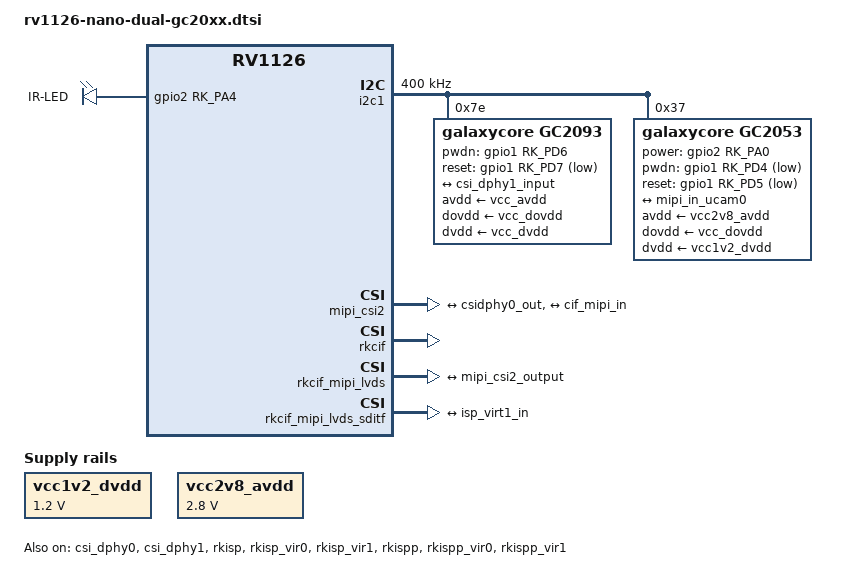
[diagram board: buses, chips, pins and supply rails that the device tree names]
// SPDX-License-Identifier: (GPL-2.0+ OR MIT)
/*
 * Guangzhou Easy EAI Technology Co., Ltd.
 *
 */

/ {
	gpioleds {
		pinctrl-names = "default";
		pinctrl-0 = <&ir_led_io>;
		compatible = "gpio-leds";

		ir_led {
			label = "IR-LED";
			gpios = <&gpio2 RK_PA4 GPIO_ACTIVE_HIGH>;
			default-state = "on";
		};
	};

	vcc1v2_dvdd: vcc1v2-dvdd {
		compatible = "regulator-fixed";
		regulator-name = "vcc1v2_dvdd";
		regulator-min-microvolt = <1200000>;
		regulator-max-microvolt = <1200000>;
	};

	vcc2v8_avdd: vcc2v8-avdd {
		compatible = "regulator-fixed";
		regulator-name = "vcc2v8_avdd";
		regulator-min-microvolt = <2800000>;
		regulator-max-microvolt = <2800000>;
	};
};

&csi_dphy0 {
	status = "okay";

	ports {
		#address-cells = <1>;
		#size-cells = <0>;
		port@0 {
			reg = <0>;
			#address-cells = <1>;
			#size-cells = <0>;

			mipi_in_ucam0: endpoint@1 {
				reg = <1>;
				remote-endpoint = <&ucam_out0>;
				data-lanes = <1 2>;
			};
		};
		port@1 {
			reg = <1>;
			#address-cells = <1>;
			#size-cells = <0>;

			csidphy0_out: endpoint@0 {
				reg = <0>;
				remote-endpoint = <&mipi_csi2_input>;
				data-lanes = <1 2>;
			};
		};
	};
};

&csi_dphy1 {
	status = "okay";

	ports {
		#address-cells = <1>;
		#size-cells = <0>;

		port@0 {
			reg = <0>;
			#address-cells = <1>;
			#size-cells = <0>;

			csi_dphy1_input: endpoint@1 {
				reg = <1>;
				remote-endpoint = <&ucam_out1>;
				data-lanes = <1 2>;
			};
		};
		port@1 {
			reg = <1>;
			#address-cells = <1>;
			#size-cells = <0>;

			csi_dphy1_output: endpoint@0 {
				reg = <0>;
				remote-endpoint = <&isp_in>;
				data-lanes = <1 2>;
			};
		};
	};
};

&i2c1 {
	status = "okay";
	clock-frequency = <400000>;

	gc2093: gc2093@7e {
		compatible = "galaxycore,gc2093";
		reg = <0x7e>;
		clocks = <&cru CLK_MIPICSI_OUT>;
		clock-names = "xvclk";
		power-domains = <&power RV1126_PD_VI>;
		pinctrl-names = "default";
		pinctrl-0 = <&mipicsi_clk1 &csi1_pwdn &csi1_rst>;
		avdd-supply = <&vcc_avdd>;
		dovdd-supply = <&vcc_dovdd>;
		dvdd-supply = <&vcc_dvdd>;
		pwdn-gpios = <&gpio1 RK_PD6 GPIO_ACTIVE_HIGH>;
		reset-gpios = <&gpio1 RK_PD7 GPIO_ACTIVE_LOW>;
		rockchip,camera-module-index = <1>;
		rockchip,camera-module-facing = "front";
		rockchip,camera-module-name = "YT-RV1109-2-V1";
		rockchip,camera-module-lens-name = "40IR-2MP-F20";
		//ir-cut = <&cam_ircut0>;
		port {
			ucam_out1: endpoint {
				remote-endpoint = <&csi_dphy1_input>;
				data-lanes = <1 2>;
			};
		};
	};

	gc2053: gc2053@37 { //IR
		compatible = "galaxycore,gc2053";
		reg = <0x37>;

		clocks = <&cru CLK_MIPICSI_OUT>;
		clock-names = "xvclk";

		power-domains = <&power RV1126_PD_VI>;
		pinctrl-names = "default";
		pinctrl-0 = <&mipicsi_clk0 &csi0_rst &csi0_pwdn &csi0_pwr>;

		power-gpios = <&gpio2 RK_PA0 GPIO_ACTIVE_HIGH>;
		pwdn-gpios = <&gpio1 RK_PD4 GPIO_ACTIVE_LOW>;
		reset-gpios = <&gpio1 RK_PD5 GPIO_ACTIVE_LOW>;

		avdd-supply = <&vcc2v8_avdd>;
		dovdd-supply = <&vcc_dovdd>;
		dvdd-supply = <&vcc1v2_dvdd>;

		rockchip,camera-module-index = <0>;
		rockchip,camera-module-facing = "front";
		rockchip,camera-module-name = "YT-RV1109-2-V1";
		rockchip,camera-module-lens-name = "40IR-2MP-F20";
		port {
			ucam_out0: endpoint {
				remote-endpoint = <&mipi_in_ucam0>;
				data-lanes = <1 2>;
			};
		};
	};
};

/* isp cma buffer don't fiddle with it, dual camera(1920 * 1080) need 92M buffer */
&isp_reserved {
	size = <0x5c00000>;
};

&mipi_csi2 {
	status = "okay";
	ports {
		#address-cells = <1>;
		#size-cells = <0>;

		port@0 {
			reg = <0>;
			#address-cells = <1>;
			#size-cells = <0>;

			mipi_csi2_input: endpoint@1 {
				reg = <1>;
				remote-endpoint = <&csidphy0_out>;
				data-lanes = <1 2>;
			};
		};

		port@1 {
			reg = <1>;
			#address-cells = <1>;
			#size-cells = <0>;

			mipi_csi2_output: endpoint@0 {
				reg = <0>;
				remote-endpoint = <&cif_mipi_in>;
				data-lanes = <1 2>;
			};
		};
	};
};

&pinctrl {
	mipi-csi {
		/omit-if-no-ref/
		csi0_rst: csi0_rst {
			rockchip,pins =
				<1 RK_PD5 RK_FUNC_GPIO &pcfg_pull_up>;
		};

		/omit-if-no-ref/
		csi0_pwdn: csi0_pwdn {
			rockchip,pins =
				<1 RK_PD4 RK_FUNC_GPIO &pcfg_pull_up>;
		};

		/omit-if-no-ref/
		csi0_pwr: csi0_pwr {
			rockchip,pins =
				<2 RK_PA0 RK_FUNC_GPIO &pcfg_pull_up>;
		};

		/omit-if-no-ref/
		ir_led_io: ir-led-io {
			rockchip,pins =
				<2 RK_PA4 RK_FUNC_GPIO &pcfg_pull_up>;
		};

		/omit-if-no-ref/
		csi1_rst: csi1_rst {
			rockchip,pins =
				<1 RK_PD7 RK_FUNC_GPIO &pcfg_pull_up>;
		};

		/omit-if-no-ref/
		csi1_pwdn: csi1_pwdn {
			rockchip,pins =
				<1 RK_PD6 RK_FUNC_GPIO &pcfg_pull_up>;
		};
	};
};

&rk809 {
	regulators {
		vcc_dvdd: LDO_REG6 {
			regulator-min-microvolt = <1200000>;
			regulator-max-microvolt = <1200000>;
		};

		vcc_avdd: LDO_REG7 {
			regulator-min-microvolt = <3300000>;
			regulator-max-microvolt = <3300000>;
		};
	};
};

&rkcif {
	status = "okay";
};

&rkcif_mmu {
	status = "disabled";
};

&rkcif_mipi_lvds {
	status = "okay";
	port {
		cif_mipi_in: endpoint {
			remote-endpoint = <&mipi_csi2_output>;
			data-lanes = <1 2>;
		};
	};
};

&rkcif_mipi_lvds_sditf {
	status = "okay";

	port {
		cif_sditf: endpoint {
			remote-endpoint = <&isp_virt1_in>;
			data-lanes = <1 2 3 4>;
		};
	};
};

&rkisp {
	status = "okay";
};

&rkisp_vir0 {
	status = "okay";

	ports {
		port@0 {
			reg = <0>;
			#address-cells = <1>;
			#size-cells = <0>;

			isp_in: endpoint@0 {
				reg = <0>;
				remote-endpoint = <&csi_dphy1_output>;
			};
		};
	};
};

&rkisp_vir1 {
	status = "okay";
	ports {
		port@0 {
			reg = <0>;
			#address-cells = <1>;
			#size-cells = <0>;

			isp_virt1_in: endpoint@0 {
				reg = <0>;
				remote-endpoint = <&cif_sditf>;
			};
		};
	};
};

&rkisp_mmu {
	status = "disabled";
};

&rkispp {
	status = "okay";
	/* the max input w h and fps of mulit sensor */
	max-input = <1920 1080 30>;
};

&rkispp_vir0 {
	status = "okay";
};

&rkispp_vir1 {
	status = "okay";
};

&rkispp_mmu {
	status = "okay";
};
